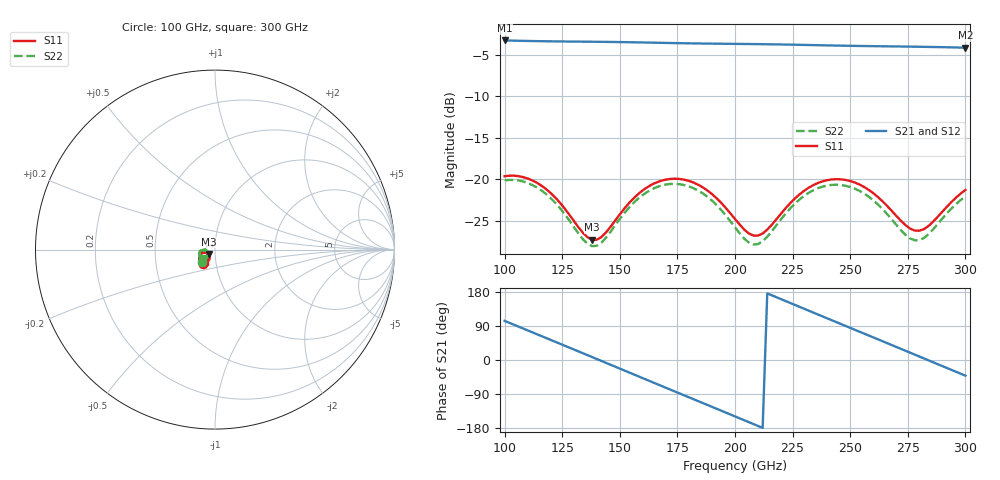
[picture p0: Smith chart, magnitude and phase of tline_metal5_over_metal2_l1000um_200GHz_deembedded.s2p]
! Created with skrf 2.0.1 (http://scikit-rf.org).
# GHz S DB R 50.0
!freq dBS11 angS11 dBS21 angS21 dBS12 angS12 dBS22 angS22
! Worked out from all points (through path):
!   101 points, 100 GHz to 300 GHz, reference 50 ohm
!   highest |S21| = -3.28 dB at 100 GHz (marker M1); lowest = -4.2 dB at 300 GHz (marker M2)
!   group delay of S21, straight-line fit = 7.01 ps
!   lowest |S11| = -27.3 dB at 138 GHz (marker M3), VSWR 1.09, Z = 46.5 - j2.24 ohm
!   |S11| at or under -10 dB: start of sweep to end of sweep
!   |S22| runs from -28.1 to -20.1 dB; largest |S21 - S12| = 1.1e-13
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100  -19.64 -131.0  -3.28 103.3  -3.28 103.3  -20.13 -136.3
108  -19.73 -144.8  -3.33 83.2  -3.33 83.2  -20.27 -150.7
116  -20.77 -157.1  -3.37 63.1  -3.37 63.1  -21.35 -163.6
126  -23.50 -165.7  -3.41 37.9  -3.41 37.9  -24.17 -172.8
134  -26.45 -157.9  -3.43 17.8  -3.43 17.8  -27.22 -164.9
138  -27.29 -146.1  -3.44 7.7  -3.44 7.7  -28.06 -152.6
152  -23.52 -120.2  -3.49 -27.8  -3.49 -27.8  -24.07 -127.7
168  -20.18 -136.3  -3.57 -68.2  -3.57 -68.2  -20.76 -145.6
176  -19.97 -148.0  -3.61 -88.4  -3.61 -88.4  -20.60 -158.1
184  -20.66 -159.0  -3.65 -108.5  -3.65 -108.5  -21.36 -169.8
200  -24.79 -166.3  -3.70 -148.8  -3.70 -148.8  -25.79 -177.8
208  -26.78 -149.5  -3.72 -169.0  -3.72 -169.0  -27.86 -159.4
216  -25.47 -129.0  -3.75 170.7  -3.75 170.7  -26.25 -138.4
224  -22.87 -124.7  -3.79 150.4  -3.79 150.4  -23.50 -135.6
234  -20.70 -132.8  -3.84 125.2  -3.84 125.2  -21.32 -145.4
242  -20.02 -143.0  -3.89 105.0  -3.89 105.0  -20.68 -156.6
250  -20.21 -153.6  -3.93 84.9  -3.93 84.9  -20.93 -168.1
258  -21.27 -162.4  -3.96 64.7  -3.96 64.7  -22.09 -177.9
268  -23.79 -165.6  -4.00 39.5  -4.00 39.5  -24.82 178.3
280  -26.20 -143.6  -4.04 9.2  -4.04 9.2  -27.33 -158.0
290  -23.90 -125.7  -4.09 -16.1  -4.09 -16.1  -24.73 -141.0
300  -21.29 -127.9  -4.15 -41.4  -4.15 -41.4  -22.07 -145.2
